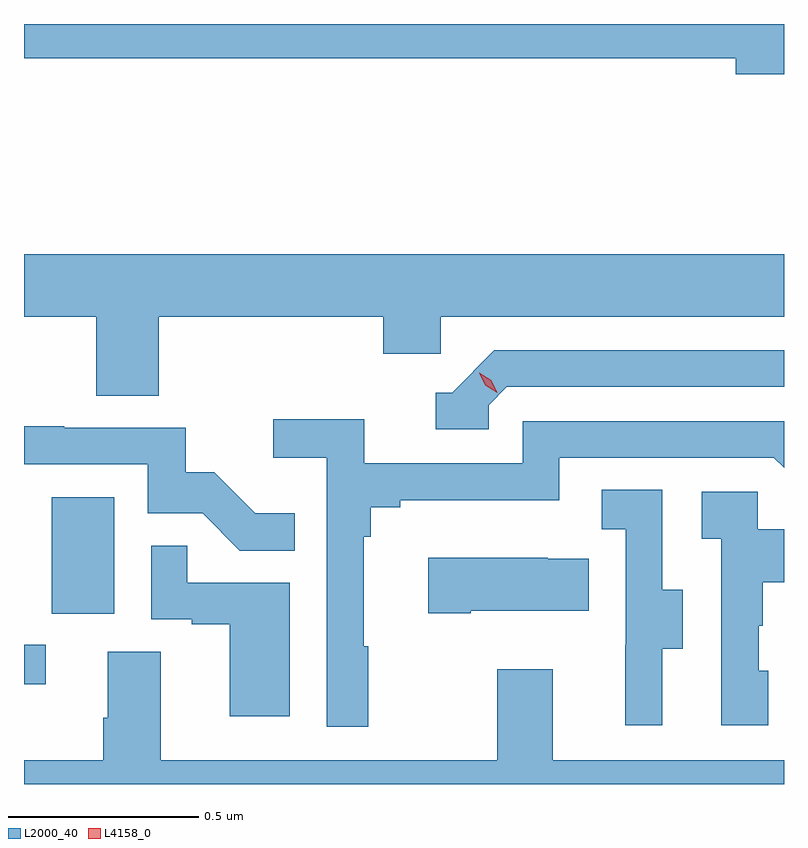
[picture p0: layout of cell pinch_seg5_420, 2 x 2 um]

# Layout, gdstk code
import gdstk
lib = gdstk.Library(unit=1e-6, precision=1e-09)
def R(c, l, rs):  # rectangles x0, y0, x1, y1
    for r in rs: c.add(gdstk.rectangle(r[:2], r[2:], *l))
def P(c, l, *ps):  # polygons
    for p in ps: c.add(gdstk.Polygon(p, *l))
L2000_40 = (2000, 40)
L4158_0 = (4158, 0)

pinch_seg5_420 = lib.new_cell('pinch_seg5_420')
R(pinch_seg5_420, L2000_40, [(999.967,854.46,1000.024,854.565), (1000.04,854.646,1000.204,854.953)])
P(pinch_seg5_420, L2000_40, [(1001.967,856.198),(999.967,856.198),(999.967,856.108),(1001.84,856.108),(1001.84,856.066),(1001.967,856.066)],
  [(1000.322,855.428),(1000.913,855.428),(1000.913,855.33),(1001.064,855.33),(1001.064,855.428),(1001.967,855.428),(1001.967,855.592),(999.967,855.592),(999.967,855.428),(1000.157,855.428),(1000.157,855.22),(1000.322,855.22)],
  [(1001.19,855.195),(1001.238,855.243),(1001.967,855.243),(1001.967,855.339),(1001.205,855.339),(1001.094,855.228),(1001.051,855.228),(1001.051,855.132),(1001.19,855.132)],
  [(1000.873,854.561),(1000.861,854.561),(1000.861,854.849),(1000.88,854.849),(1000.88,854.926),(1000.957,854.926),(1000.957,854.945),(1001.376,854.945),(1001.376,855.057),(1001.94,855.057),(1001.967,855.03),(1001.967,855.153),(1001.28,855.153),(1001.28,855.042),(1000.862,855.042),(1000.862,855.158),(1000.623,855.158),(1000.623,855.056),(1000.764,855.056),(1000.764,854.349),(1000.873,854.349)],
  [(1000.679,854.911),(1000.575,854.911),(1000.468,855.018),(1000.392,855.018),(1000.392,855.135),(1000.073,855.135),(1000.073,855.14),(999.967,855.14),(999.967,855.039),(1000.293,855.039),(1000.293,854.91),(1000.437,854.91),(1000.535,854.812),(1000.679,854.812)],
  [(1001.647,854.554),(1001.701,854.554),(1001.701,854.709),(1001.646,854.709),(1001.646,854.972),(1001.487,854.972),(1001.487,854.869),(1001.55,854.869),(1001.55,854.565),(1001.549,854.565),(1001.549,854.352),(1001.647,854.352)],
  [(1001.926,854.496),(1001.901,854.496),(1001.901,854.615),(1001.911,854.615),(1001.911,854.729),(1001.967,854.729),(1001.967,854.869),(1001.898,854.869),(1001.898,854.967),(1001.751,854.967),(1001.751,854.843),(1001.802,854.843),(1001.802,854.352),(1001.926,854.352)],
  [(1000.666,854.727),(1000.397,854.727),(1000.397,854.825),(1000.302,854.825),(1000.302,854.631),(1000.409,854.631),(1000.409,854.619),(1000.508,854.619),(1000.508,854.376),(1000.666,854.376)],
  [(1001.143,854.654),(1001.453,854.654),(1001.453,854.791),(1001.345,854.791),(1001.345,854.794),(1001.031,854.794),(1001.031,854.647),(1001.143,854.647)],
  [(1001.967,854.26),(1001.359,854.26),(1001.359,854.5),(1001.212,854.5),(1001.212,854.26),(1000.327,854.26),(1000.327,854.546),(1000.187,854.546),(1000.187,854.372),(1000.175,854.372),(1000.175,854.26),(999.967,854.26),(999.967,854.198),(1001.967,854.198)])
P(pinch_seg5_420, L4158_0, [(1001.212,855.227),(1001.181,855.247),(1001.165,855.28),(1001.165,855.28),(1001.165,855.28),(1001.196,855.26),(1001.212,855.228),(1001.212,855.227)])

lib.write_gds('pinch_seg5_420.gds')
